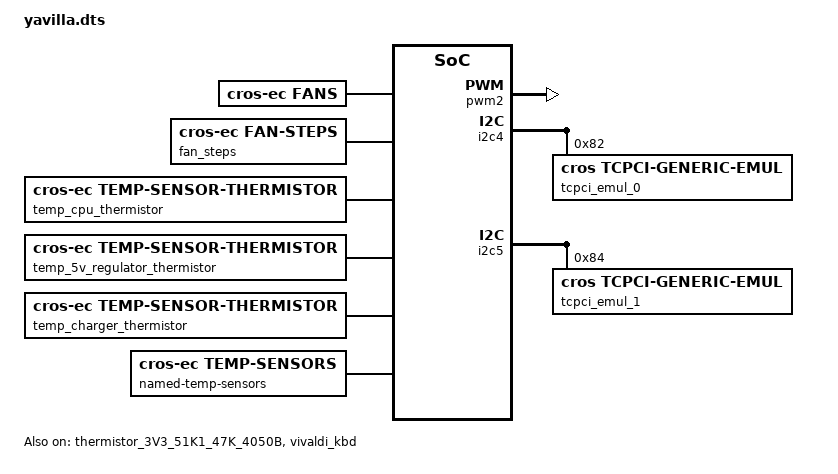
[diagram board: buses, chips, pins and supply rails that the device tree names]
/* Copyright 2024 The ChromiumOS Authors
 * Use of this source code is governed by a BSD-style license that can be
 * found in the LICENSE file.
 */
#include <cros/thermistor/thermistor.dtsi>
#include <dt-bindings/pwm/pwm.h>
#include <it8xxx2_emul.dts>
#include "../program/nissa/yavilla/cbi.dtsi"
#include "../program/nissa/yavilla/motionsense.dtsi"
#include <cros/vivaldi_kbd_default.dtsi>

/ {
	named-gpios {
		compatible = "named-gpios";

		gpio_ec_entering_rw: ec_entering_rw {
			gpios = <&gpioc 7 GPIO_OUTPUT>;
			enum-name = "GPIO_ENTERING_RW";
		};
		gpio_en_usb_a0_vbus: en_usb_a0_vbus {
			gpios = <&gpiol 6 GPIO_OUTPUT>;
		};
		gpio_en_usb_a1_vbus: en_usb_a1_vbus {
			gpios = <&gpiof 0 GPIO_OUTPUT>;
		};
		gpio_en_usb_c0_cc1_vconn: en_usb_c0_cc1_vconn {
			gpios = <&gpioh 4 GPIO_OUTPUT>;
		};
		gpio_en_usb_c0_cc2_vconn: en_usb_c0_cc2_vconn {
			gpios = <&gpioh 6 GPIO_OUTPUT>;
		};
		gpio_usb_c0_int_odl: usb_c0_int_odl {
			gpios = <&gpiok 0 GPIO_INPUT_PULL_UP>;
		};
		gpio_usb_c1_int_odl: usb_c1_int_odl {
			gpios = <&gpioe 6 GPIO_INPUT_PULL_UP>;
		};
		gpio_fan_enable: fan-enable {
			gpios = <&gpioa 1 GPIO_OUTPUT>;
			no-auto-init;
		};
		gpio_acc_int_l: acc_int_l {
			gpios = <&gpioc 0 GPIO_INPUT>;
		};
		gpio_imu_int_l: imu_int_l {
			gpios = <&gpioj 0 GPIO_INPUT>;
		};
		gpio_ec_edp_bl_en_od: ec_edp_bl_en_od {
			gpios = <&gpiok 4 GPIO_ODR_HIGH>;
			enum-name = "GPIO_ENABLE_BACKLIGHT";
		};
		gpio_lid_open: lid_open {
			gpios = <&gpiof 3 GPIO_INPUT>;
			enum-name = "GPIO_LID_OPEN";
		};
		gpio_ec_soc_dsw_pwrok: ec_soc_dsw_pwrok {
			gpios = <&gpiol 7 GPIO_OUTPUT>;
			no-auto-init;
		};
		gpio_c1_charger_led_white_l: c1_charger_led_white_l {
			gpios = <&gpiol 4 GPIO_OUTPUT_HIGH>;
		};
		gpio_c1_charger_led_amber_l: c1_charger_led_amber_l {
			gpios = <&gpiod 4 GPIO_OUTPUT_HIGH>;
		};
		gpio_c0_charger_led_white_l: c0_charger_led_white_l {
			gpios = <&gpioc 3 GPIO_OUTPUT_HIGH>;
		};
		gpio_c0_charger_led_amber_l: c0_charger_led_amber_l {
			gpios = <&gpioj 7 GPIO_OUTPUT_HIGH>;
		};
		gpio_pen_detect_odl: pen_detect_odl {
			gpios = <&gpioj 1 GPIO_INPUT>;
		};
		gpio_en_pp5000_pen_x: en_pp5000_pen_x {
			gpios = <&gpiob 5 GPIO_OUTPUT>;
		};
		gpio_tablet_mode_l: tablet_mode_l {
			gpios = <&gpioa 7 GPIO_INPUT>;
			enum-name = "GPIO_TABLET_MODE_L";
		};
	};

	gpio-interrupts {
		compatible = "cros-ec,gpio-interrupts";

		int_acc: lid_imu {
		  irq-pin = <&gpio_acc_int_l>;
		  flags = <GPIO_INT_EDGE_FALLING>;
		  handler = "bma4xx_interrupt";
		};
		int_imu: ec_imu {
			irq-pin = <&gpio_imu_int_l>;
			flags = <GPIO_INT_EDGE_FALLING>;
			handler = "bmi3xx_interrupt";
		};
		int_usb_c0: usb_c0 {
			irq-pin = <&gpio_usb_c0_int_odl>;
			flags = <GPIO_INT_EDGE_FALLING>;
			handler = "usb_c0_interrupt";
		};
		int_usb_c1: usb_c1 {
			irq-pin = <&gpio_usb_c1_int_odl>;
			flags = <GPIO_INT_EDGE_FALLING>;
			handler = "usb_c1_interrupt";
		};
		int_lid_open: lid_open {
			irq-pin = <&gpio_lid_open>;
			flags = <GPIO_INT_EDGE_BOTH>;
			handler = "lid_interrupt";
		};
		int_pen_det_l: pen_det_l {
			irq-pin = <&gpio_pen_detect_odl>;
			flags = <GPIO_INT_EDGE_BOTH>;
			handler = "pen_detect_interrupt";
		};
	};

	named-i2c-ports {
		compatible = "named-i2c-ports";

		i2c_ec_i2c_batt: ec_i2c_batt {
			i2c-port = <&i2c0>;
			enum-names = "I2C_PORT_BATTERY";
		};
		i2c_ec_i2c_sensor: ec_i2c_sensor {
			i2c-port = <&i2c2>;
			enum-names = "I2C_PORT_SENSOR";
		};
		i2c_ec_i2c_sub_usb_c1: ec_i2c_sub_usb_c1 {
			i2c-port = <&i2c4>;
			enum-names = "I2C_PORT_USB_C1_TCPC";
		};
		i2c_ec_i2c_usb_c0: ec_i2c_usb_c0 {
			i2c-port = <&i2c5>;
			enum-names = "I2C_PORT_USB_C0_TCPC";
		};
	};

	usba {
		compatible = "cros-ec,usba-port-enable-pins";
		/*
		 * ILIM_SEL pins are referred to by legacy enum name,
		 * GPIO_USB*_ILIM_SEL.
		 */
		enable-pins = <&gpio_en_usb_a0_vbus &gpio_en_usb_a1_vbus>;
		status = "okay";
	};

	usbc {
		#address-cells = <1>;
		#size-cells = <0>;
		port0@0 {
			compatible = "named-usbc-port";
			reg = <0>;
			tcpc = <&tcpci_emul_0>;
			usb-mux-chain-0 {
				compatible = "cros-ec,usb-mux-chain";
				usb-muxes = <&virtual_mux_0>;
			};
		};
		port1@1 {
			compatible = "named-usbc-port";
			reg = <1>;
			tcpc = <&tcpci_emul_1>;
			usb-mux-chain-1 {
				compatible = "cros-ec,usb-mux-chain";
				usb-muxes = <&virtual_mux_1>;
			};
			usb_mux_chain_1_no_mux: usb-mux-chain-1-no-mux {
				compatible = "cros-ec,usb-mux-chain";
				alternative-chain;
				usb-muxes = <&virtual_mux_1>;
			};
		};
		port0-muxes {
			virtual_mux_0: virtual-mux-0 {
				compatible = "cros-ec,usbc-mux-virtual";
			};
		};
		port1-muxes {
			virtual_mux_1: virtual-mux-1 {
				compatible = "cros-ec,usbc-mux-virtual";
			};
		};
	};

	pwms {
		#address-cells = <1>;
		#size-cells = <1>;

		pwm2: pwm@6 {
			compatible = "cros,pwm-mock";
			reg = <6 2>;
			#pwm-cells = <3>;
			status = "okay";
		};
	};

	tachs {
		#address-cells = <1>;
		#size-cells = <1>;

		tach1: tach@1 {
			compatible = "cros,tach-mock";
			reg = <1 1>;
			#tach-cells = <3>;
			status = "okay";
		};
	};

	fans {
		compatible = "cros-ec,fans";

		fan0: fan_0 {
			pwms = <&pwm2 2 PWM_KHZ(25) PWM_POLARITY_NORMAL>;
			tach = <&tach1>;
			rpm_min = <2500>;
			rpm_start = <2500>;
			rpm_max = <4700>;
			rpm_deviation = <1>;
			enable_gpio = <&gpio_fan_enable>;
		};
	};

	fan_steps {
		compatible = "cros-ec,fan-steps";
		level_0 {
			temp_on = <43 47 0>;
			temp_off = <99 99 99>;
			rpm_target = <0>;
		};
		level_1 {
			temp_on = <46 48 0>;
			temp_off = <40 45 99>;
			rpm_target = <2600>;
		};
		level_2 {
			temp_on = <49 49 0>;
			temp_off = <44 46 99>;
			rpm_target = <2800>;
		};
		level_3 {
			temp_on = <53 50 54>;
			temp_off = <47 47 51>;
			rpm_target = <3100>;
		};
		level_4 {
			temp_on = <56 56 60>;
			temp_off = <51 48 52>;
			rpm_target = <3300>;
		};
		level_5 {
			temp_on = <60 60 64>;
			temp_off = <54 52 56>;
			rpm_target = <3600>;
		};
		level_6 {
			temp_on = <100 100 100>;
			temp_off = <58 54 58>;
			rpm_target = <4000>;
		};
	};

	named-adc-channels {
		compatible = "named-adc-channels";

		adc_temp_sensor_1: temp_sensor_1 {
			enum-name = "ADC_TEMP_SENSOR_1";
			io-channels = <&adc0 2>;
		};
		adc_temp_sensor_2: temp_sensor_2 {
			enum-name = "ADC_TEMP_SENSOR_2";
			io-channels = <&adc0 3>;
		};
		adc_temp_sensor_3: temp_sensor_3 {
			enum-name = "ADC_TEMP_SENSOR_3";
			io-channels = <&adc0 13>;
		};
	};

	temp_cpu_thermistor: cpu {
		compatible = "cros-ec,temp-sensor-thermistor";
		thermistor = <&thermistor_3V3_51K1_47K_4050B>;
		adc = <&adc_temp_sensor_1>;
	};
	temp_5v_regulator_thermistor: 5v-regulator {
		compatible = "cros-ec,temp-sensor-thermistor";
		thermistor = <&thermistor_3V3_51K1_47K_4050B>;
		adc = <&adc_temp_sensor_2>;
	};
	temp_charger_thermistor: charger {
		compatible = "cros-ec,temp-sensor-thermistor";
		thermistor = <&thermistor_3V3_51K1_47K_4050B>;
		adc = <&adc_temp_sensor_3>;
	};

	named-temp-sensors {
		compatible = "cros-ec,temp-sensors";
		temp_cpu: cpu {
			temp_fan_off = <45>;
			temp_fan_max = <60>;
			temp_host_high = <75>;
			temp_host_halt = <85>;
			temp_host_release_high = <65>;
			power-good-pin = <&gpio_ec_soc_dsw_pwrok>;
			sensor = <&temp_cpu_thermistor>;
		};
		temp_5v_regulator: 5v-regulator {
			temp_fan_off = <50>;
			temp_fan_max = <65>;
			temp_host_high = <75>;
			temp_host_halt = <85>;
			temp_host_release_high = <65>;
			power-good-pin = <&gpio_ec_soc_dsw_pwrok>;
			sensor = <&temp_5v_regulator_thermistor>;
		};
		temp_charger: charger {
			temp_fan_off = <50>;
			temp_fan_max = <65>;
			temp_host_high = <80>;
			temp_host_halt = <85>;
			temp_host_release_high = <75>;
			power-good-pin = <&gpio_ec_soc_dsw_pwrok>;
			sensor = <&temp_charger_thermistor>;
		};
	};
};

&i2c4 {
	tcpci_emul_0: tcpci_emul@82 {
		compatible = "cros,tcpci-generic-emul";
		status = "okay";
		reg = <0x82>;
	};
};

&i2c5 {
	tcpci_emul_1: tcpci_emul@84 {
		compatible = "cros,tcpci-generic-emul";
		status = "okay";
		reg = <0x84>;
	};
};

&thermistor_3V3_51K1_47K_4050B  {
	status = "okay";
};

&vivaldi_kbd {
	status = "okay";

	kbd_config_1: kbd-config-1 {
		vivaldi-codes = <0 0 0 0 0 0 0 0 0 0>;
		capabilities = <0>;
	};
};
